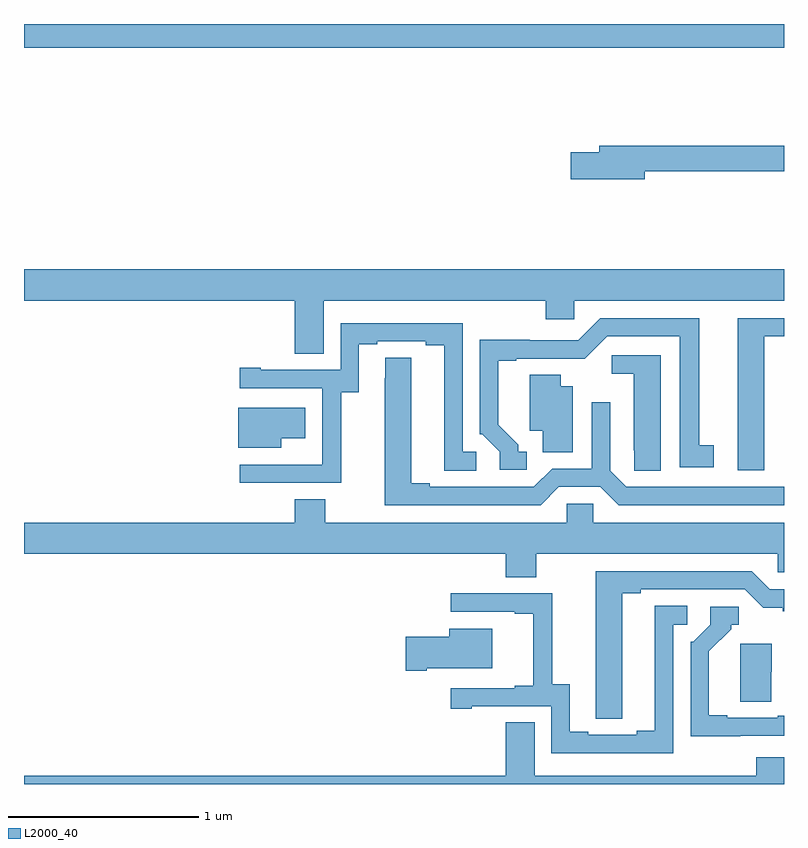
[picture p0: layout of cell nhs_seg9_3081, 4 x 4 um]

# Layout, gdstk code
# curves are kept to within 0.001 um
import gdstk
lib = gdstk.Library(unit=1e-6, precision=1e-09)
def R(c, l, rs):  # rectangles x0, y0, x1, y1
    for r in rs: c.add(gdstk.rectangle(r[:2], r[2:], *l))
def P(c, l, *ps):  # polygons
    for p in ps: c.add(gdstk.Polygon(p, *l))
L2000_40 = (2000, 40)

nhs_seg9_3081 = lib.new_cell('nhs_seg9_3081')
R(nhs_seg9_3081, L2000_40, [(287,1240.376,291,1240.5)])
P(nhs_seg9_3081, L2000_40, [(290.266,1239.724),(291,1239.724),(291,1239.86),(290.027,1239.86),(290.027,1239.824),(289.878,1239.824),(289.878,1239.682),(290.266,1239.682)],
  [(288.577,1239.044),(289.745,1239.044),(289.745,1238.946),(289.896,1238.946),(289.896,1239.044),(291,1239.044),(291,1239.208),(287,1239.208),(287,1239.044),(288.425,1239.044),(288.425,1238.764),(288.577,1238.764)],
  [(290.896,1238.856),(291,1238.856),(291,1238.952),(290.756,1238.952),(290.756,1238.151),(290.896,1238.151)],
  [(289.645,1238.25),(289.6,1238.25),(289.6,1238.285),(289.495,1238.39),(289.495,1238.727),(289.591,1238.727),(289.591,1238.739),(289.952,1238.738),(290.07,1238.856),(290.45,1238.856),(290.45,1238.166),(290.629,1238.166),(290.629,1238.282),(290.554,1238.282),(290.554,1238.952),(290.034,1238.952),(289.917,1238.835),(289.661,1238.835),(289.661,1238.837),(289.398,1238.837),(289.398,1238.34),(289.413,1238.34),(289.503,1238.25),(289.503,1238.154),(289.645,1238.154)],
  [(288.669,1238.563),(288.763,1238.563),(288.763,1238.814),(288.859,1238.814),(288.859,1238.829),(289.115,1238.829),(289.115,1238.809),(289.211,1238.809),(289.211,1238.149),(289.381,1238.149),(289.381,1238.25),(289.308,1238.25),(289.308,1238.925),(288.666,1238.925),(288.666,1238.679),(288.247,1238.679),(288.247,1238.692),(288.135,1238.692),(288.135,1238.583),(288.57,1238.583),(288.57,1238.182),(288.569,1238.182),(288.569,1238.181),(288.135,1238.181),(288.135,1238.085),(288.669,1238.085)],
  [(290.35,1238.757),(290.094,1238.757),(290.094,1238.66),(290.21,1238.66),(290.21,1238.257),(290.211,1238.257),(290.211,1238.149),(290.35,1238.149)],
  [(289.815,1238.064),(290.033,1238.064),(290.129,1237.968),(291,1237.968),(291,1238.064),(290.169,1238.064),(290.085,1238.148),(290.085,1238.509),(289.989,1238.509),(289.989,1238.16),(289.779,1238.16),(289.683,1238.064),(289.135,1238.064),(289.135,1238.084),(289.039,1238.084),(289.039,1238.744),(288.9,1238.744),(288.899,1237.968),(289.719,1237.968)],
  [(289.888,1238.593),(289.825,1238.593),(289.825,1238.654),(289.661,1238.654),(289.661,1238.36),(289.73,1238.36),(289.73,1238.245),(289.888,1238.245)],
  [(288.355,1238.321),(288.481,1238.321),(288.481,1238.479),(288.128,1238.479),(288.128,1238.27),(288.355,1238.27)],
  [(289.695,1237.712),(290.967,1237.712),(290.967,1237.614),(291,1237.614),(291,1237.876),(289.995,1237.876),(289.995,1237.974),(289.857,1237.974),(289.857,1237.876),(288.585,1237.876),(288.585,1238),(288.425,1238),(288.425,1237.876),(287,1237.876),(287,1237.712),(289.535,1237.712),(289.535,1237.588),(289.695,1237.588)],
  [(290.149,1237.504),(290.245,1237.504),(290.245,1237.524),(290.793,1237.524),(290.891,1237.427),(290.994,1237.427),(290.994,1237.408),(291,1237.408),(291,1237.524),(290.925,1237.524),(290.829,1237.62),(290.009,1237.62),(290.01,1236.844),(290.149,1236.844)],
  [(290.418,1237.338),(290.491,1237.338),(290.491,1237.439),(290.321,1237.439),(290.321,1236.779),(290.225,1236.779),(290.225,1236.759),(289.969,1236.759),(289.969,1236.774),(289.873,1236.774),(289.873,1237.025),(289.779,1237.025),(289.779,1237.503),(289.245,1237.503),(289.245,1237.407),(289.583,1237.407),(289.583,1237.395),(289.679,1237.395),(289.679,1237.018),(289.583,1237.018),(289.583,1237.005),(289.245,1237.005),(289.245,1236.897),(289.357,1236.897),(289.357,1236.909),(289.776,1236.909),(289.776,1236.663),(290.418,1236.663)],
  [(290.771,1236.753),(291,1236.753),(291,1236.86),(290.966,1236.86),(290.966,1236.849),(290.701,1236.849),(290.701,1236.862),(290.605,1236.862),(290.605,1237.198),(290.722,1237.315),(290.722,1237.338),(290.761,1237.338),(290.761,1237.434),(290.613,1237.434),(290.613,1237.338),(290.523,1237.248),(290.508,1237.248),(290.508,1236.752)],
  [(289.12,1237.109),(289.465,1237.109),(289.465,1237.318),(289.238,1237.318),(289.238,1237.275),(289.008,1237.275),(289.008,1237.097),(289.12,1237.097)],
  [(290.934,1237.092),(290.935,1237.092),(290.935,1237.237),(290.771,1237.237),(290.771,1236.934),(290.934,1236.934)],
  [(291,1236.642),(290.855,1236.642),(290.855,1236.544),(289.687,1236.544),(289.687,1236.824),(289.535,1236.824),(289.535,1236.544),(287,1236.544),(287,1236.5),(291,1236.5)])

lib.write_gds('nhs_seg9_3081.gds')
